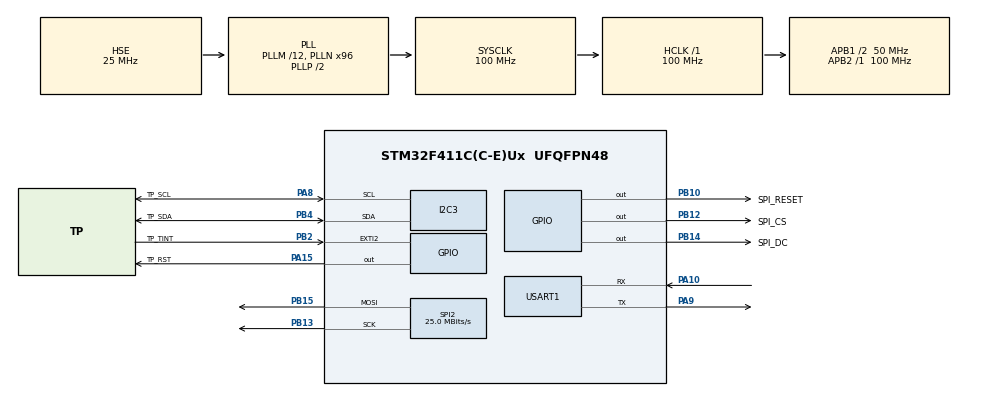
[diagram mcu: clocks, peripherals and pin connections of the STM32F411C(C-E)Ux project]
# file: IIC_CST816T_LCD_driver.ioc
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Dma.I2C3_RX.1.Direction=DMA_PERIPH_TO_MEMORY
Dma.I2C3_RX.1.FIFOMode=DMA_FIFOMODE_DISABLE
Dma.I2C3_RX.1.Instance=DMA1_Stream1
Dma.I2C3_RX.1.MemDataAlignment=DMA_MDATAALIGN_BYTE
Dma.I2C3_RX.1.MemInc=DMA_MINC_ENABLE
Dma.I2C3_RX.1.Mode=DMA_NORMAL
Dma.I2C3_RX.1.PeriphDataAlignment=DMA_PDATAALIGN_BYTE
Dma.I2C3_RX.1.PeriphInc=DMA_PINC_DISABLE
Dma.I2C3_RX.1.Priority=DMA_PRIORITY_MEDIUM
Dma.Request0=SPI2_TX
Dma.Request1=I2C3_RX
Dma.SPI2_TX.0.Direction=DMA_MEMORY_TO_PERIPH
Dma.SPI2_TX.0.FIFOMode=DMA_FIFOMODE_DISABLE
Dma.SPI2_TX.0.Instance=DMA1_Stream4
Dma.SPI2_TX.0.MemDataAlignment=DMA_MDATAALIGN_BYTE
Dma.SPI2_TX.0.MemInc=DMA_MINC_ENABLE
Dma.SPI2_TX.0.Mode=DMA_NORMAL
Dma.SPI2_TX.0.PeriphDataAlignment=DMA_PDATAALIGN_BYTE
Dma.SPI2_TX.0.PeriphInc=DMA_PINC_DISABLE
Dma.SPI2_TX.0.Priority=DMA_PRIORITY_MEDIUM
FREERTOS.Tasks01=defaultTask,24,128,StartDefaultTask,Default,NULL,Dynamic,NULL,NULL;LVGLTask,10,1024,LVGLTask_event,Default,NULL,Dynamic,NULL,NULL
Mcu.Family=STM32F4
Mcu.Name=STM32F411C(C-E)Ux
Mcu.Package=UFQFPN48
NVIC.DMA1_Stream1_IRQn=true\:5\:0\:false\:false\:true\:true\:false\:true\:true
NVIC.DMA1_Stream4_IRQn=true\:5\:0\:false\:false\:true\:true\:false\:true\:true
NVIC.EXTI2_IRQn=true\:5\:0\:false\:false\:true\:true\:true\:true\:true
NVIC.PriorityGroup=NVIC_PRIORITYGROUP_4
NVIC.TIM1_BRK_TIM9_IRQn=true\:0\:0\:true\:false\:true\:false\:false\:true\:true
NVIC.TimeBase=TIM1_BRK_TIM9_IRQn
NVIC.TimeBaseIP=TIM9
PA10.Mode=Asynchronous
PA10.Signal=USART1_RX
PA13.Mode=Serial_Wire
PA13.Signal=SYS_JTMS-SWDIO
PA14.Mode=Serial_Wire
PA14.Signal=SYS_JTCK-SWCLK
PA15.GPIO_Label=TP_RST
PA15.GPIO_Speed=GPIO_SPEED_FREQ_VERY_HIGH
PA15.PinState=GPIO_PIN_SET
PA15.Signal=GPIO_Output
PA8.GPIO_Label=TP_SCL
PA8.Mode=I2C
PA8.Signal=I2C3_SCL
PA9.Mode=Asynchronous
PA9.Signal=USART1_TX
PB10.GPIO_Label=SPI_RESET
PB10.GPIO_Speed=GPIO_SPEED_FREQ_VERY_HIGH
PB10.PinState=GPIO_PIN_SET
PB10.Signal=GPIO_Output
PB12.GPIO_Label=SPI_CS
PB12.GPIO_Speed=GPIO_SPEED_FREQ_VERY_HIGH
PB12.Signal=GPIO_Output
PB13.Mode=TX_Only_Simplex_Unidirect_Master
PB13.Signal=SPI2_SCK
PB14.GPIO_Label=SPI_DC
PB14.GPIO_Speed=GPIO_SPEED_FREQ_VERY_HIGH
PB14.Signal=GPIO_Output
PB15.Mode=TX_Only_Simplex_Unidirect_Master
PB15.Signal=SPI2_MOSI
PB2.GPIO_Label=TP_TINT
PB2.GPIO_ModeDefaultEXTI=GPIO_MODE_IT_FALLING
PB2.GPIO_PuPd=GPIO_PULLUP
PB2.Signal=GPXTI2
PB4.GPIO_Label=TP_SDA
PB4.Mode=I2C
PB4.Signal=I2C3_SDA
PC14-OSC32_IN.Mode=LSE-External-Oscillator
PC14-OSC32_IN.Signal=RCC_OSC32_IN
PC15-OSC32_OUT.Mode=LSE-External-Oscillator
PC15-OSC32_OUT.Signal=RCC_OSC32_OUT
PH0\ -\ OSC_IN.Mode=HSE-External-Oscillator
PH0\ -\ OSC_IN.Signal=RCC_OSC_IN
PH1\ -\ OSC_OUT.Mode=HSE-External-Oscillator
PH1\ -\ OSC_OUT.Signal=RCC_OSC_OUT
ProjectManager.HeapSize=0x200
ProjectManager.StackSize=0x400
ProjectManager.TargetToolchain=MDK-ARM V5.32
RCC.48MHZClocksFreq_Value=50000000
RCC.AHBFreq_Value=100000000
RCC.APB1CLKDivider=RCC_HCLK_DIV2
RCC.APB1Freq_Value=50000000
RCC.APB1TimFreq_Value=100000000
RCC.APB2Freq_Value=100000000
RCC.APB2TimFreq_Value=100000000
RCC.CortexFreq_Value=100000000
RCC.HCLKFreq_Value=100000000
RCC.HSE_VALUE=25000000
RCC.HSI_VALUE=16000000
RCC.PLLM=12
RCC.PLLN=96
RCC.PLLSourceVirtual=RCC_PLLSOURCE_HSE
RCC.SYSCLKFreq_VALUE=100000000
RCC.SYSCLKSource=RCC_SYSCLKSOURCE_PLLCLK
RCC.VCOOutputFreq_Value=200000000
SPI2.CLKPhase=SPI_PHASE_2EDGE
SPI2.CLKPolarity=SPI_POLARITY_HIGH
SPI2.CalculateBaudRate=25.0 MBits/s
SPI2.Direction=SPI_DIRECTION_2LINES
SPI2.Mode=SPI_MODE_MASTER
SPI2.VirtualType=VM_MASTER
USART1.VirtualMode=VM_ASYNC
VP_FREERTOS_VS_CMSIS_V2.Mode=CMSIS_V2
VP_SYS_VS_tim9.Mode=TIM9
board=custom

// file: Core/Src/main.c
/* USER CODE BEGIN Header */
/**
  ******************************************************************************
  * @file           : main.c
  * @brief          : Main program body
  ******************************************************************************
  * @attention
  *
  * Copyright (c) 2024 STMicroelectronics.
  * All rights reserved.
  *
  * This software is licensed under terms that can be found in the LICENSE file
  * in the root directory of this software component.
  * If no LICENSE file comes with this software, it is provided AS-IS.
  *
  ******************************************************************************
  */
/* USER CODE END Header */
#include "main.h"
#include "cmsis_os.h"
#include "dma.h"
#include "i2c.h"
#include "spi.h"
#include "usart.h"
#include "gpio.h"

/* USER CODE BEGIN Includes */
#include "elog.h"
#include "SEGGER_RTT.h"
#include "bsp_st7789_driver.h"
#include "bsp_st7789_link.h"
#include "fonts.h"
#include "st7789_reg_define.h"
#include "bsp_cst816t_driver.h"
#include "lvgl.h"
#include "lvgl/examples/porting/lv_port_disp_template.h"
#include "lvgl/examples/porting/lv_port_indev_template.h"
#include "gui_guider.h"
/* USER CODE END Includes */

void SystemClock_Config(void);
void MX_FREERTOS_Init(void);
/* USER CODE BEGIN PFP */
void segger_rtt_init(void);

/* USER CODE END PFP */

int main(void)
{

  /* MCU Configuration--------------------------------------------------------*/

  /* Reset of all peripherals, Initializes the Flash interface and the Systick. */
  HAL_Init();

  /* Configure the system clock */
  SystemClock_Config();

  /* Initialize all configured peripherals */
  MX_GPIO_Init();
  MX_DMA_Init();
  MX_USART1_UART_Init();
  MX_SPI2_Init();
  MX_I2C3_Init();
  /* USER CODE BEGIN 2 */
	segger_rtt_init();
  /* USER CODE END 2 */

  /* Init scheduler */
  osKernelInitialize();

  /* Call init function for freertos objects (in cmsis_os2.c) */
  MX_FREERTOS_Init();

  /* Start scheduler */
  osKernelStart();

  /* We should never get here as control is now taken by the scheduler */

  /* Infinite loop */
  while (1)
  {

  }
}

void SystemClock_Config(void)
{
  RCC_OscInitTypeDef RCC_OscInitStruct = {0};
  RCC_ClkInitTypeDef RCC_ClkInitStruct = {0};

  /** Configure the main internal regulator output voltage
  */
  __HAL_RCC_PWR_CLK_ENABLE();
  __HAL_PWR_VOLTAGESCALING_CONFIG(PWR_REGULATOR_VOLTAGE_SCALE1);

  /** Initializes the RCC Oscillators according to the specified parameters
  * in the RCC_OscInitTypeDef structure.
  */
  RCC_OscInitStruct.OscillatorType = RCC_OSCILLATORTYPE_HSE;
  RCC_OscInitStruct.HSEState = RCC_HSE_ON;
  RCC_OscInitStruct.PLL.PLLState = RCC_PLL_ON;
  RCC_OscInitStruct.PLL.PLLSource = RCC_PLLSOURCE_HSE;
  RCC_OscInitStruct.PLL.PLLM = 12;
  RCC_OscInitStruct.PLL.PLLN = 96;
  RCC_OscInitStruct.PLL.PLLP = RCC_PLLP_DIV2;
  RCC_OscInitStruct.PLL.PLLQ = 4;
  if (HAL_RCC_OscConfig(&RCC_OscInitStruct) != HAL_OK)
  {
    Error_Handler();
  }

  /** Initializes the CPU, AHB and APB buses clocks
  */
  RCC_ClkInitStruct.ClockType = RCC_CLOCKTYPE_HCLK|RCC_CLOCKTYPE_SYSCLK
                              |RCC_CLOCKTYPE_PCLK1|RCC_CLOCKTYPE_PCLK2;
  RCC_ClkInitStruct.SYSCLKSource = RCC_SYSCLKSOURCE_PLLCLK;
  RCC_ClkInitStruct.AHBCLKDivider = RCC_SYSCLK_DIV1;
  RCC_ClkInitStruct.APB1CLKDivider = RCC_HCLK_DIV2;
  RCC_ClkInitStruct.APB2CLKDivider = RCC_HCLK_DIV1;

  if (HAL_RCC_ClockConfig(&RCC_ClkInitStruct, FLASH_LATENCY_3) != HAL_OK)
  {
    Error_Handler();
  }
}

/* USER CODE BEGIN 4 */
void segger_rtt_init()
{
  /* initialize EasyLogger */
  SEGGER_RTT_Init();
  elog_init();
  /* set EasyLogger log format */
  elog_set_fmt(ELOG_LVL_ASSERT, ELOG_FMT_ALL);
  elog_set_fmt(ELOG_LVL_ERROR, ELOG_FMT_LVL | ELOG_FMT_TAG | ELOG_FMT_TIME);
  elog_set_fmt(ELOG_LVL_WARN, ELOG_FMT_LVL | ELOG_FMT_TAG | ELOG_FMT_TIME);
  elog_set_fmt(ELOG_LVL_INFO, ELOG_FMT_LVL | ELOG_FMT_TAG | ELOG_FMT_TIME);
  elog_set_fmt(ELOG_LVL_DEBUG, ELOG_FMT_ALL & ~(ELOG_FMT_FUNC | ELOG_FMT_T_INFO | ELOG_FMT_P_INFO));
  elog_set_fmt(ELOG_LVL_VERBOSE, ELOG_FMT_ALL & ~(ELOG_FMT_FUNC | ELOG_FMT_T_INFO | ELOG_FMT_P_INFO));
  /* start EasyLogger */
  elog_start();
}

/* USER CODE END 4 */

void HAL_TIM_PeriodElapsedCallback(TIM_HandleTypeDef *htim)
{
  if (htim->Instance == TIM9) {
    HAL_IncTick();
  }
}

void Error_Handler(void)
{
  __disable_irq();
  while (1)
  {
  }
}

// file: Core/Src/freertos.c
/* USER CODE BEGIN Header */
/**
 ******************************************************************************
 * File Name          : freertos.c
 * Description        : Code for freertos applications
 ******************************************************************************
 * @attention
 *
 * Copyright (c) 2024 STMicroelectronics.
 * All rights reserved.
 *
 * This software is licensed under terms that can be found in the LICENSE file
 * in the root directory of this software component.
 * If no LICENSE file comes with this software, it is provided AS-IS.
 *
 ******************************************************************************
 */
/* USER CODE END Header */

#include "FreeRTOS.h"
#include "task.h"
#include "main.h"
#include "cmsis_os.h"

/* USER CODE BEGIN Includes */
#include "usart.h"

#include "bsp_st7789_driver.h"
#include "st7789_reg_define.h"
#include "bsp_st7789_link.h"
#include "fonts.h"
#include "bsp_cst816t_driver.h"
#include "bsp_cst816t_link.h"
#include "lvgl.h"
#include "lvgl/examples/porting/lv_port_disp_template.h"
#include "lvgl/examples/porting/lv_port_indev_template.h"
#include "gui_guider.h"
/* USER CODE END Includes */

/* USER CODE BEGIN Variables */
bsp_st7789_driver_t st7789_driver_instance;
basic_oper_driver_interface_t st7789_oper_instance = {
  .pf_spi_transmit = spi_transmit_data,
  .pf_spi_transmit_dma = spi_transmit_data_dma,
  .pf_write_cs_pin = gpio_write_cs_pin,
  .pf_write_dc_pin = gpio_write_dc_pin,
  .pf_write_reset_pin = gpio_write_reset_pin
};

st7789_spi_driver_interface_t st7789_spi_instance;

st7789_timebase_interface_t st7789_time_instance = {
  .pf_delay_no_os = HAL_Delay,
  .pf_get_tick_count = HAL_GetTick
};

st7789_yield_interface_t st7789_yield = {
  .pf_rtos_yield = vTaskDelay
};
bsp_cst816t_driver_t cst816t_driver_instance;

timebase_interface_t g_timebase_instance = {
    .pf_get_tick_count = HAL_GetTick,
};

yield_interface_t g_yield_instance = {
    .pf_rtos_yield = vTaskDelay,
};

iic_driver_interface_t g_iic_driver_instance = {
    .hi2c = &hi2c3,
    .pf_iic_init         = iic_driver_init,
    .pf_iic_deinit       = iic_driver_deinit,
    .pf_iic_mem_write    = iic_mem_write,
    .pf_iic_mem_read     = iic_mem_read,
    .pf_iic_mem_read_dma = iic_mem_read_dma,
};

gpio_opt_interface_t gpio_opt_instance = {
    .pf_write_reset_pin = gpio_opt_write_reset_pin,
};

void (*pf_int_interrupt_callback)(void *, void *) = NULL;

void HAL_GPIO_EXTI_Callback(uint16_t GPIO_Pin)
{
    log_i("HAL_GPIO_EXTI_Callback");
    if (GPIO_Pin == GPIO_PIN_2 && pf_int_interrupt_callback != NULL)
    {
        cst816_xy_t cst816_xy;
        pf_int_interrupt_callback(&cst816t_driver_instance, &cst816_xy);
    }
}
lv_ui guider_ui;
/* USER CODE END Variables */
/* Definitions for defaultTask */
osThreadId_t defaultTaskHandle;
const osThreadAttr_t defaultTask_attributes = {
  .name = "defaultTask",
  .stack_size = 128 * 4,
  .priority = (osPriority_t) osPriorityNormal,
};
/* Definitions for LVGLTask */
osThreadId_t LVGLTaskHandle;
const osThreadAttr_t LVGLTask_attributes = {
  .name = "LVGLTask",
  .stack_size = 1024 * 4,
  .priority = (osPriority_t) osPriorityLow2,
};

/* USER CODE BEGIN FunctionPrototypes */
void system_init(void);
void touch_test(void);

/* USER CODE END FunctionPrototypes */

void StartDefaultTask(void *argument);
void LVGLTask_event(void *argument);

void MX_FREERTOS_Init(void); /* (MISRA C 2004 rule 8.1) */

void MX_FREERTOS_Init(void) {

  /* Create the thread(s) */
  /* creation of defaultTask */
  defaultTaskHandle = osThreadNew(StartDefaultTask, NULL, &defaultTask_attributes);

  /* creation of LVGLTask */
  LVGLTaskHandle = osThreadNew(LVGLTask_event, NULL, &LVGLTask_attributes);

  /* USER CODE BEGIN RTOS_THREADS */
	/* add threads, ... */
	xTaskCreate((TaskFunction_t)system_init, "system_init", 1024, NULL, osPriorityNormal1, NULL);
	//xTaskCreate((TaskFunction_t)touch_test, "touch_test", 1024, NULL, osPriorityNormal, NULL);
  /* USER CODE END RTOS_THREADS */

}

void StartDefaultTask(void *argument)
{
  /* USER CODE BEGIN StartDefaultTask */
	/* Infinite loop */
	for (;;)
	{
		log_i("StartDefaultTask\r\n");
		osDelay(1000);
	}
  /* USER CODE END StartDefaultTask */
}

void LVGLTask_event(void *argument)
{
  /* USER CODE BEGIN LVGLTask_event */
  /* Infinite loop */
 while (1)
 {
  lv_task_handler();
  osDelay(3);
 }

  /* USER CODE END LVGLTask_event */
}

/* USER CODE BEGIN Application */
void system_init(void)
{
	log_i("==========system init start==========\r\n");

	for (;;)
	{
		st7789_instance_driver_link(&st7789_driver_instance,
									&st7789_oper_instance,
									&st7789_spi_instance,
									&st7789_time_instance,
									&st7789_yield);
		st7789_driver_instance.pf_st7789_init(&st7789_driver_instance);

		bsp_cst816t_inst(&cst816t_driver_instance,
						 &g_timebase_instance,
#ifdef OS_SUPPORTING
						 &g_yield_instance,
#endif /* OS_SUPPORTING */
						 &g_iic_driver_instance,
						 &gpio_opt_instance,
						 &pf_int_interrupt_callback);

		// test the display device
		//st7789_driver_instance.pf_test_your_device(&st7789_driver_instance);

    //lvgl init
    lv_init();
    lv_port_disp_init();
    lv_port_indev_init();

    setup_ui(&guider_ui);

		vTaskDelete(NULL);
	}
}

void touch_test(void)
{
	log_i("touch_test\r\n");
	cst816_xy_t cst816_xy;

	for (;;)
	{
		cst816t_driver_instance.pf_cst816_get_xy_axis(&cst816t_driver_instance, &cst816_xy);
		// log_i("touch_test: x = %d, y = %d\r\n", cst816_xy.x_pos, cst816_xy.y_pos);
		osDelay(100);
	}
}
/* USER CODE END Application */
